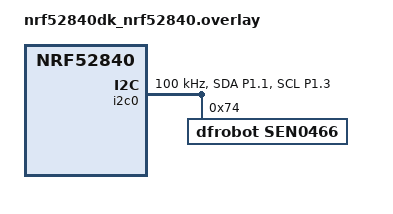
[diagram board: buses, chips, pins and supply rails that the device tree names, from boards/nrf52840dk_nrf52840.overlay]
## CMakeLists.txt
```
# SPDX-License-Identifier: Apache-2.0

cmake_minimum_required(VERSION 3.20.0)
find_package(Zephyr REQUIRED HINTS $ENV{ZEPHYR_BASE})
project(sen0466_sample)

target_sources(app PRIVATE src/main.c)
```

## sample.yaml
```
sample:
  name: SEN0466 CO Sensor Sample
  description: Sample application for DFRobot SEN0466 CO sensor

common:
  tags:
    - sensors
    - i2c
    - gas_sensor
  depends_on:
    - i2c
  platform_allow:
    - nrf52840dk/nrf52840
    - nrf9160dk/nrf9160
  integration_platforms:
    - nrf52840dk/nrf52840
    - nrf9160dk/nrf9160

tests:
  sample.sensor.sen0466.all_with_integrated_temp_comp:
    harness: console
    harness_config:
      type: multi_line
      regex:
        - "Starting SEN0466 CO sensor sample application"
        - "SEN0466 device (.*) is ready"
        - "Configuration: Sample ALL, Temp compensation INTEGRATED"
        - "CO: \\d+ ppm"
        - "TEMP: -?\\d+\\.\\d+ C"
    timeout: 30
    filter: dt_compat_enabled("dfrobot,sen0466")
    extra_args:
      - CONFIG_SEN0466_SAMPLE_ALL=y
      - CONFIG_SEN0466_TEMP_COMPENSATION=y
      - CONFIG_SEN0466_TEMP_COMP_INTEGRATED=y

  sample.sensor.sen0466.all_with_external_temp_comp:
    harness: console
    harness_config:
      type: multi_line
      regex:
        - "Starting SEN0466 CO sensor sample application"
        - "SEN0466 device (.*) is ready"
        - "Configuration: Sample ALL, Temp compensation EXTERNAL"
        - "External temperature provided: -?\\d+\\.\\d+ C"
        - "CO: \\d+ ppm"
        - "TEMP: -?\\d+\\.\\d+ C"
        - "Updated external temperature: -?\\d+\\.\\d+ C"
    timeout: 30
    filter: dt_compat_enabled("dfrobot,sen0466")
    extra_args:
      - CONFIG_SEN0466_SAMPLE_ALL=y
      - CONFIG_SEN0466_TEMP_COMPENSATION=y
      - CONFIG_SEN0466_TEMP_COMP_EXTERNAL=y

  sample.sensor.sen0466.all_no_temp_comp:
    harness: console
    harness_config:
      type: multi_line
      regex:
        - "Starting SEN0466 CO sensor sample application"
        - "SEN0466 device (.*) is ready"
        - "Configuration: Sample ALL, Temp compensation DISABLED"
        - "CO: \\d+ ppm"
        - "TEMP: -?\\d+\\.\\d+ C"
    timeout: 30
    filter: dt_compat_enabled("dfrobot,sen0466")
    extra_args:
      - CONFIG_SEN0466_SAMPLE_ALL=y
      - CONFIG_SEN0466_TEMP_COMPENSATION=n

  sample.sensor.sen0466.co_only_with_external_temp_comp:
    harness: console
    harness_config:
      type: multi_line
      regex:
        - "Starting SEN0466 CO sensor sample application"
        - "SEN0466 device (.*) is ready"
        - "Configuration: Sample CO ONLY, Temp compensation EXTERNAL"
        - "External temperature provided: \\d+\\.\\d+ C"
        - "CO: \\d+ ppm"
        - "Temperature channel not available \\(CO-only mode\\)"
        - "Updated external temperature: \\d+\\.\\d+ C"
    timeout: 30
    filter: dt_compat_enabled("dfrobot,sen0466")
    extra_args:
      - CONFIG_SEN0466_SAMPLE_CO=y
      - CONFIG_SEN0466_TEMP_COMPENSATION=y
      - CONFIG_SEN0466_TEMP_COMP_EXTERNAL=y

  sample.sensor.sen0466.co_only_no_temp_comp:
    harness: console
    harness_config:
      type: multi_line
      regex:
        - "Starting SEN0466 CO sensor sample application"
        - "SEN0466 device (.*) is ready"
        - "Configuration: Sample CO ONLY, Temp compensation DISABLED"
        - "CO: \\d+ ppm"
        - "Temperature channel not available \\(CO-only mode\\)"
    timeout: 30
    filter: dt_compat_enabled("dfrobot,sen0466")
    extra_args:
      - CONFIG_SEN0466_SAMPLE_CO=y
      - CONFIG_SEN0466_TEMP_COMPENSATION=n
```

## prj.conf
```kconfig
# Core
CONFIG_I2C=y
CONFIG_SENSOR=y
CONFIG_SEN0466=y

# Console / logging (optional)
CONFIG_LOG=y
CONFIG_LOG_DEFAULT_LEVEL=3
CONFIG_PRINTK=y

# Make room for logs (optional)
CONFIG_MAIN_STACK_SIZE=2048

CONFIG_LOG_PRINTK=y
CONFIG_NEWLIB_LIBC=y
CONFIG_CBPRINTF_FP_SUPPORT=y
```

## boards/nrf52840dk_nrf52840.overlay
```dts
/*
 * Copyright (c) 2025 Natalia Pluta
 * SPDX-License-Identifier: Apache-2.0
 */

/ {
	aliases {
		co-sensor = &sen0466;
	};
};

&pinctrl {
	i2c0_default_alt: i2c0_default_alt {
		group1 {
			psels = <NRF_PSEL(TWIM_SDA, 1, 1)>,
				<NRF_PSEL(TWIM_SCL, 1, 3)>;
		};
	};

	i2c0_sleep_alt: i2c0_sleep_alt {
		group1 {
			psels = <NRF_PSEL(TWIM_SDA, 1, 1)>,
				<NRF_PSEL(TWIM_SCL, 1, 3)>;
			low-power-enable;
		};
	};
};


&i2c0 {
	status = "okay";
	clock-frequency = <I2C_BITRATE_STANDARD>;
    pinctrl-0 = <&i2c0_default_alt>;
    pinctrl-1 = <&i2c0_sleep_alt>;
    pinctrl-names = "default", "sleep";

	sen0466: sen0466@74 {
		compatible = "dfrobot,sen0466";
		reg = <0x74>;
		label = "SEN0466";
        status = "okay";
	};
};
```

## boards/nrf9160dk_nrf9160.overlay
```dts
/*
 * Copyright (c) 2025 Natalia Pluta
 * SPDX-License-Identifier: Apache-2.0
 */

/ {
	aliases {
		co-sensor = &sen0466;
	};
};

&pinctrl {
	i2c2_default_alt: i2c2_default_alt {
		group1 {
			psels = <NRF_PSEL(TWIM_SDA, 0, 30)>,
					<NRF_PSEL(TWIM_SCL, 0, 31)>;
		};
	};

	i2c2_sleep_alt: i2c2_sleep_alt {
		group1 {
			psels = <NRF_PSEL(TWIM_SDA, 0, 30)>,
					<NRF_PSEL(TWIM_SCL, 0, 31)>;
			low-power-enable;
		};
	};
};

&i2c2 {
	status = "okay";
	clock-frequency = <I2C_BITRATE_STANDARD>;
	pinctrl-0 = <&i2c2_default_alt>;
	pinctrl-1 = <&i2c2_sleep_alt>;
	pinctrl-names = "default", "sleep";

	sen0466: sen0466@74 {
		compatible = "dfrobot,sen0466";
		reg = <0x74>;
		label = "SEN0466";
		status = "okay";
	};
};
```

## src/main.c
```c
/*
 * Copyright (c) 2025 Natalia Pluta
 *
 * SPDX-License-Identifier: Apache-2.0
 */

#include <zephyr/kernel.h>
#include <zephyr/device.h>
#include <zephyr/drivers/sensor.h>
#include <zephyr/drivers/sensor/sen0466.h>
#include <zephyr/sys/printk.h>
#include <zephyr/logging/log.h>

LOG_MODULE_REGISTER(main, CONFIG_LOG_DEFAULT_LEVEL);

static void print_configuration(void)
{
	LOG_INF("Configuration: Sample %s, Temp compensation %s",
#if defined(CONFIG_SEN0466_SAMPLE_ALL)
		"ALL",
#else
		"CO ONLY",
#endif
#if defined(CONFIG_SEN0466_TEMP_COMPENSATION)
#if defined(CONFIG_SEN0466_TEMP_COMP_INTEGRATED)
		"INTEGRATED"
#elif defined(CONFIG_SEN0466_TEMP_COMP_EXTERNAL)
		"EXTERNAL"
#else
		"UNKNOWN"
#endif
#else
		"DISABLED"
#endif
	);
}

int main(void)
{
	const struct device *dev = DEVICE_DT_GET(DT_NODELABEL(sen0466));
	struct sensor_value co;

#if defined(CONFIG_SEN0466_SAMPLE_ALL)
	struct sensor_value temp;
#endif

	int sample_count = 0;

	LOG_INF("Starting SEN0466 CO sensor sample application");

	if (!device_is_ready(dev)) {
		LOG_ERR("SEN0466 device %s is not ready", dev->name);
		return -ENODEV;
	}

	LOG_INF("SEN0466 device %s is ready", dev->name);
	print_configuration();

#if defined(CONFIG_SEN0466_TEMP_COMP_EXTERNAL)
	/* Provide external temperature for testing external compensation */
	struct sensor_value ext_temp = {
		.val1 = 25,    /* 25°C */
		.val2 = 500000 /* 0.5°C fractional part = 25.5°C */
	};

	int ret = sen0466_temp_update(dev, &ext_temp);
	if (ret == 0) {
		LOG_INF("External temperature provided: %d.%06d C", ext_temp.val1, ext_temp.val2);
	} else {
		LOG_ERR("Failed to set external temperature: %d", ret);
	}
#endif

	while (1) {
		sample_count++;

		int ret = sensor_sample_fetch(dev);
		if (ret) {
			LOG_ERR("sample_fetch error: %d", ret);
			k_sleep(K_SECONDS(1));
			return ret;
		}

		/* Always try to get CO concentration */
		ret = sensor_channel_get(dev, (enum sensor_channel)SENSOR_CHAN_SEN0466_CO, &co);
		if (ret == 0) {
			LOG_INF("CO: %d ppm", co.val1);
		} else {
			LOG_ERR("Failed to get CO channel: %d", ret);
		}

#if defined(CONFIG_SEN0466_SAMPLE_ALL)
		/* Try to get temperature only if we're sampling all data */
		ret = sensor_channel_get(dev, (enum sensor_channel)SENSOR_CHAN_SEN0466_TEMP, &temp);
		if (ret == 0) {
			LOG_INF("TEMP: %d.%06d C", temp.val1, temp.val2);
		} else {
			LOG_ERR("Failed to get temperature channel: %d", ret);
		}
#else
		/* In CO-only mode, temperature channel should not be available */
		if (sample_count == 1) {
			LOG_INF("Temperature channel not available (CO-only mode)");
		}
#endif

#if defined(CONFIG_SEN0466_TEMP_COMP_EXTERNAL)
		/* Update external temperature every few samples for testing */
		if (sample_count % 5 == 0) {
			ext_temp.val1 = 25 + (sample_count / 5); /* Vary temperature for testing */
			ret = sen0466_temp_update(dev, &ext_temp);
			if (ret == 0) {
				LOG_INF("Updated external temperature: %d.%06d C", ext_temp.val1,
					ext_temp.val2);
			}
		}
#endif

		k_sleep(K_SECONDS(2));
	}

	return 0;
}
```
